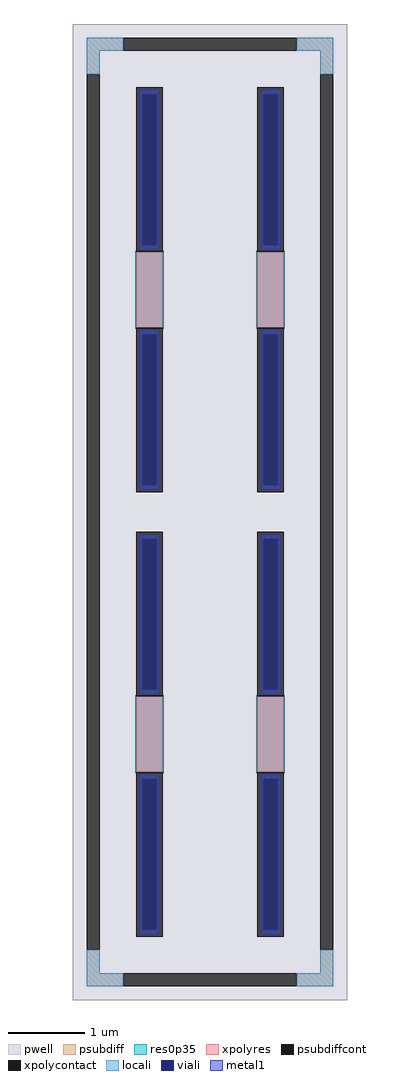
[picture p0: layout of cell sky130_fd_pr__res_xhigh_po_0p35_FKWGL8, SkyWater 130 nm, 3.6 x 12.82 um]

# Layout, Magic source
magic
tech sky130A
magscale 1 2
<< pwell >>
rect -360 -1282 360 1282
<< psubdiff >>
rect -324 1212 -228 1246
rect 228 1212 324 1246
rect -324 1150 -290 1212
rect 290 1150 324 1212
rect -324 -1212 -290 -1150
rect 290 -1212 324 -1150
rect -324 -1246 -228 -1212
rect 228 -1246 324 -1212
<< psubdiffcont >>
rect -228 1212 228 1246
rect -324 -1150 -290 1150
rect 290 -1150 324 1150
rect -228 -1246 228 -1212
<< xpolycontact >>
rect -194 684 -124 1116
rect -194 52 -124 484
rect 124 684 194 1116
rect 124 52 194 484
rect -194 -484 -124 -52
rect -194 -1116 -124 -684
rect 124 -484 194 -52
rect 124 -1116 194 -684
<< xpolyres >>
rect -194 484 -124 684
rect 124 484 194 684
rect -194 -684 -124 -484
rect 124 -684 194 -484
<< locali >>
rect -324 1212 -228 1246
rect 228 1212 324 1246
rect -324 1150 -290 1212
rect 290 1150 324 1212
rect -324 -1212 -290 -1150
rect 290 -1212 324 -1150
rect -324 -1246 -228 -1212
rect 228 -1246 324 -1212
<< viali >>
rect -178 701 -140 1098
rect 140 701 178 1098
rect -178 70 -140 467
rect 140 70 178 467
rect -178 -467 -140 -70
rect 140 -467 178 -70
rect -178 -1098 -140 -701
rect 140 -1098 178 -701
<< metal1 >>
rect -184 1098 -134 1110
rect -184 701 -178 1098
rect -140 701 -134 1098
rect -184 689 -134 701
rect 134 1098 184 1110
rect 134 701 140 1098
rect 178 701 184 1098
rect 134 689 184 701
rect -184 467 -134 479
rect -184 70 -178 467
rect -140 70 -134 467
rect -184 58 -134 70
rect 134 467 184 479
rect 134 70 140 467
rect 178 70 184 467
rect 134 58 184 70
rect -184 -70 -134 -58
rect -184 -467 -178 -70
rect -140 -467 -134 -70
rect -184 -479 -134 -467
rect 134 -70 184 -58
rect 134 -467 140 -70
rect 178 -467 184 -70
rect 134 -479 184 -467
rect -184 -701 -134 -689
rect -184 -1098 -178 -701
rect -140 -1098 -134 -701
rect -184 -1110 -134 -1098
rect 134 -701 184 -689
rect 134 -1098 140 -701
rect 178 -1098 184 -701
rect 134 -1110 184 -1098
<< res0p35 >>
rect -196 482 -122 686
rect 122 482 196 686
rect -196 -686 -122 -482
rect 122 -686 196 -482
<< properties >>
string FIXED_BBOX -307 -1229 307 1229
string gencell sky130_fd_pr__res_xhigh_po_0p35
string library sky130
string parameters w 0.350 l 1 m 2 nx 2 wmin 0.350 lmin 0.50 rho 2000 val 6.789k dummy 0 dw 0.0 term 188.2 sterm 0.0 caplen 0 wmax 0.350 guard 1 glc 1 grc 1 gtc 1 gbc 1 compatible {sky130_fd_pr__res_xhigh_po_0p35  sky130_fd_pr__res_xhigh_po_0p69 sky130_fd_pr__res_xhigh_po_1p41  sky130_fd_pr__res_xhigh_po_2p85 sky130_fd_pr__res_xhigh_po_5p73} full_metal 1 n_guard 0 hv_guard 0 vias 1 viagb 0 viagt 0 viagl 0 viagr 0
<< end >>
